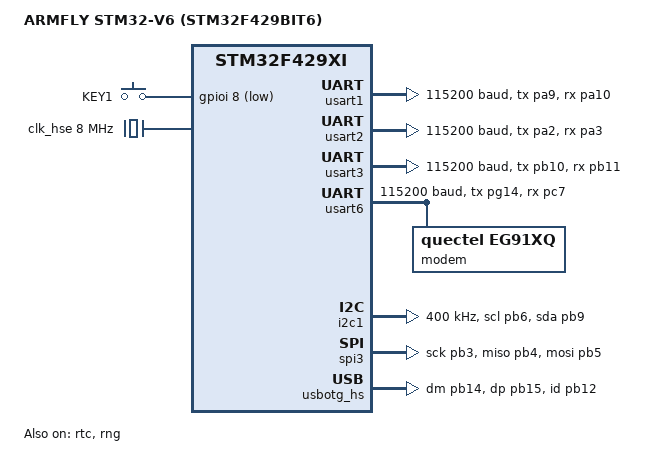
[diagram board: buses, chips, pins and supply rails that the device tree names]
/*
 * Copyright (c) 2017 Linaro Limited
 * Copyright (c) 2024 STMicroelectronics
 * Copyright (c) 2026 ARMFLY
 *
 * SPDX-License-Identifier: Apache-2.0
 */

/dts-v1/;
#include <st/f4/stm32f429Xi.dtsi>
#include <st/f4/stm32f429b(e-g-i)tx-pinctrl.dtsi>
#include <zephyr/dt-bindings/input/input-event-codes.h>

/ {
	model = "ARMFLY STM32-V6 (STM32F429BIT6)";
	compatible = "armfly,stm32-v6";

	chosen {
		zephyr,console = &usart1;
		zephyr,shell-uart = &usart1;
		zephyr,sram = &sram0;
		zephyr,flash = &flash0;
		zephyr,ccm = &ccm0;
	};

	gpio_keys {
		compatible = "gpio-keys";
		key1: button_0 {
			label = "KEY1";
			gpios = <&gpioi 8 GPIO_ACTIVE_LOW>;
			zephyr,code = <INPUT_KEY_0>;
		};
	};

	aliases {
		sw0 = &key1;
		modem-uart = &usart6;
		modem = &modem;
	};
};

&clk_lsi {
	status = "okay";
};

&clk_hse {
	clock-frequency = <DT_FREQ_M(8)>;
	status = "okay";
};

&pll {
	div-m = <8>;
	mul-n = <336>;
	div-p = <2>;
	div-q = <7>;
	clocks = <&clk_hse>;
	status = "okay";
};

&rcc {
	clocks = <&pll>;
	clock-frequency = <DT_FREQ_M(168)>;
	ahb-prescaler = <1>;
	apb1-prescaler = <4>;
	apb2-prescaler = <2>;
};

&usart1 {
	pinctrl-0 = <&usart1_tx_pa9 &usart1_rx_pa10>;
	pinctrl-names = "default";
	current-speed = <115200>;
	status = "okay";
};

&usart2 {
	pinctrl-0 = <&usart2_tx_pa2 &usart2_rx_pa3>;
	pinctrl-names = "default";
	current-speed = <115200>;
	status = "okay";
};

&usart3 {
	pinctrl-0 = <&usart3_tx_pb10 &usart3_rx_pb11>;
	pinctrl-names = "default";
	current-speed = <115200>;
	status = "okay";
};

&usart6 {
	pinctrl-0 = <&usart6_tx_pg14 &usart6_rx_pc7>;
	pinctrl-names = "default";
	current-speed = <115200>;
	status = "okay";

	modem: modem {
		compatible = "quectel,eg91xq";
		/* UART-only wiring: no external PWRKEY control line is connected. */
		autostarts;
		status = "okay";
	};
};

&rtc {
	clocks = <&rcc STM32_CLOCK_BUS_APB1 0x10000000>,
			 <&rcc STM32_SRC_LSI RTC_SEL(2)>;
	status = "okay";
};

&rng {
	status = "okay";
};

&i2c1 {
	pinctrl-0 = <&i2c1_scl_pb6 &i2c1_sda_pb9>;
	pinctrl-names = "default";
	status = "okay";
	clock-frequency = <I2C_BITRATE_FAST>;
};

&spi3 {
	pinctrl-0 = <&spi3_sck_pb3 &spi3_miso_pb4 &spi3_mosi_pb5>;
	pinctrl-names = "default";
	status = "okay";
};

zephyr_udc0: &usbotg_hs {
	pinctrl-0 = <&usb_otg_hs_dm_pb14 &usb_otg_hs_dp_pb15 &usb_otg_hs_id_pb12>;
	pinctrl-names = "default";
	status = "okay";
};
